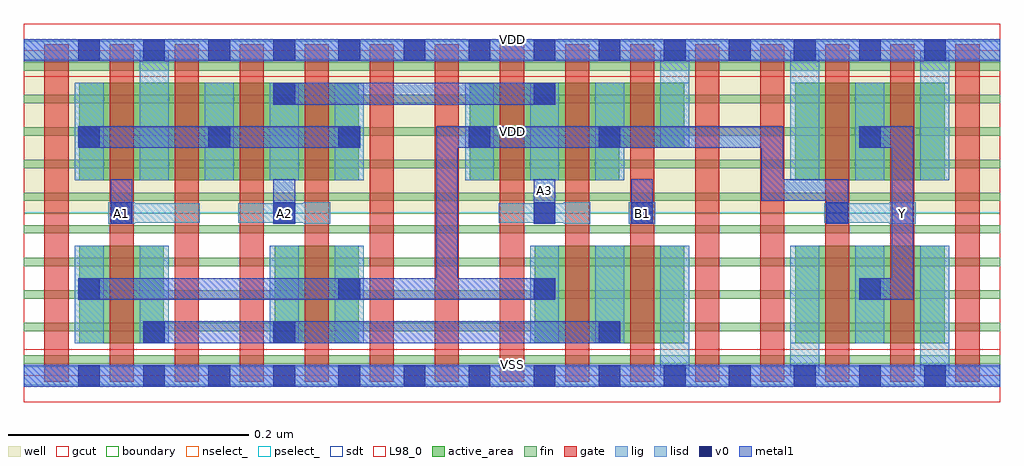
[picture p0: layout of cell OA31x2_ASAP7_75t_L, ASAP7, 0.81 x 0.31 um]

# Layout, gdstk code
import gdstk
lib = gdstk.Library(unit=1e-6, precision=2.5e-10)
def R(c, l, rs):  # rectangles x0, y0, x1, y1
    for r in rs: c.add(gdstk.rectangle(r[:2], r[2:], *l))
def A(c, l, x, y, w, h, nx, ny, dx, dy):  # array of equal rectangles
    R(c, l, [(x+i*dx, y+j*dy, x+i*dx+w, y+j*dy+h) for i in range(nx) for j in range(ny)])
def P(c, l, *ps):  # polygons
    for p in ps: c.add(gdstk.Polygon(p, *l))
well = (1, 0)
fin = (2, 0)
gate = (7, 0)
gcut = (10, 0)
active_area = (11, 0)
nselect_ = (12, 0)
pselect_ = (13, 0)
lig = (16, 0)
lisd = (17, 0)
v0 = (18, 0)
metal1 = (19, 0)
sdt = (88, 0)
L98_0 = (98, 0)
boundary = (100, 0)

oa31x2_asap7_75t_l = lib.new_cell('OA31x2_ASAP7_75t_L')
R(oa31x2_asap7_75t_l, well, [(0,0.135,0.81,0.27)])
A(oa31x2_asap7_75t_l, fin, 0, 0.01, 0.81, 0.007, 1, 10, 0, 0.027)
A(oa31x2_asap7_75t_l, gate, 0.017, -0.005, 0.02, 0.28, 15, 1, 0.054, 0)
R(oa31x2_asap7_75t_l, gcut, [(0,-0.022,0.81,0.022), (0,0.248,0.81,0.292)])
R(oa31x2_asap7_75t_l, active_area, [(0.046,0.027,0.116,0.108), (0.208,0.027,0.278,0.108), (0.424,0.027,0.548,0.108), (0.64,0.027,0.764,0.108), (0.046,0.162,0.278,0.243), (0.64,0.162,0.764,0.243)])
P(oa31x2_asap7_75t_l, active_area, [(0.37,0.162),(0.494,0.162),(0.494,0.189),(0.548,0.189),(0.548,0.243),(0.37,0.243)])
R(oa31x2_asap7_75t_l, nselect_, [(0,0,0.81,0.135)])
R(oa31x2_asap7_75t_l, pselect_, [(0,0.135,0.81,0.27)])
R(oa31x2_asap7_75t_l, lig, [(0,-0.008,0.81,0.008), (0.07,0.126,0.092,0.144), (0.232,0.126,0.254,0.144), (0.448,0.126,0.47,0.144), (0.502,0.126,0.524,0.144), (0.718,0.126,0.74,0.144), (0.07,0.127,0.146,0.143), (0.178,0.127,0.254,0.143), (0.394,0.127,0.47,0.143), (0.664,0.127,0.74,0.143), (0,0.262,0.81,0.278)])
A(oa31x2_asap7_75t_l, lisd, 0.15, 0.162, 0.024, 0.081, 3, 1, 0.054, 0)
A(oa31x2_asap7_75t_l, lisd, 0.366, 0.162, 0.024, 0.081, 3, 1, 0.054, 0)
R(oa31x2_asap7_75t_l, lisd, [(0.528,0,0.552,0.108), (0.528,0,0.552,0.108), (0.636,0,0.66,0.108), (0.636,0,0.66,0.108), (0.744,0,0.768,0.108), (0.744,0,0.768,0.108), (0.042,0.027,0.066,0.108), (0.096,0.027,0.12,0.108), (0.204,0.027,0.228,0.108), (0.258,0.027,0.282,0.108), (0.42,0.027,0.444,0.108), (0.474,0.027,0.498,0.108), (0.69,0.027,0.714,0.108), (0.042,0.162,0.066,0.243), (0.096,0.162,0.12,0.27), (0.096,0.162,0.12,0.27), (0.636,0.162,0.66,0.27), (0.636,0.162,0.66,0.27), (0.69,0.162,0.714,0.243), (0.744,0.162,0.768,0.27), (0.744,0.162,0.768,0.27), (0.528,0.189,0.552,0.27), (0.528,0.189,0.552,0.27)])
A(oa31x2_asap7_75t_l, v0, 0.045, -0.009, 0.018, 0.018, 14, 2, 0.054, 0.27)
A(oa31x2_asap7_75t_l, v0, 0.207, 0.027, 0.018, 0.018, 1, 3, 0, 0.099)
A(oa31x2_asap7_75t_l, v0, 0.045, 0.189, 0.018, 0.018, 5, 1, 0.108, 0)
R(oa31x2_asap7_75t_l, v0, [(0.099,0.027,0.117,0.045), (0.477,0.027,0.495,0.045), (0.045,0.063,0.063,0.081), (0.261,0.063,0.279,0.081), (0.423,0.063,0.441,0.081), (0.693,0.063,0.711,0.081), (0.072,0.126,0.09,0.144), (0.423,0.126,0.441,0.144), (0.504,0.126,0.522,0.144), (0.666,0.126,0.684,0.144), (0.693,0.189,0.711,0.207), (0.423,0.225,0.441,0.243)])
A(oa31x2_asap7_75t_l, metal1, 0.207, 0.027, 0.018, 0.018, 1, 3, 0, 0.099)
A(oa31x2_asap7_75t_l, metal1, 0.045, 0.189, 0.018, 0.018, 5, 1, 0.108, 0)
R(oa31x2_asap7_75t_l, metal1, [(0,-0.009,0.81,0.009), (0.099,0.027,0.117,0.045), (0.099,0.027,0.495,0.045), (0.477,0.027,0.495,0.045), (0.045,0.063,0.063,0.081), (0.261,0.063,0.279,0.081), (0.423,0.063,0.441,0.081), (0.693,0.063,0.711,0.081), (0.072,0.126,0.09,0.144), (0.072,0.126,0.09,0.163), (0.207,0.126,0.225,0.163), (0.423,0.126,0.441,0.144), (0.423,0.126,0.441,0.163), (0.504,0.126,0.522,0.144), (0.504,0.126,0.522,0.163), (0.666,0.126,0.684,0.144), (0.045,0.189,0.279,0.207), (0.693,0.189,0.711,0.207), (0.207,0.225,0.441,0.243), (0.423,0.225,0.441,0.243), (0,0.261,0.81,0.279)])
P(oa31x2_asap7_75t_l, metal1, [(0.666,0.126),(0.684,0.126),(0.684,0.163),(0.63,0.163),(0.63,0.207),(0.342,0.207),(0.342,0.081),(0.045,0.081),(0.045,0.063),(0.441,0.063),(0.441,0.081),(0.36,0.081),(0.36,0.189),(0.612,0.189),(0.612,0.145),(0.666,0.145)],
  [(0.693,0.207),(0.693,0.189),(0.72,0.189),(0.72,0.081),(0.693,0.081),(0.693,0.063),(0.738,0.063),(0.738,0.207)])
A(oa31x2_asap7_75t_l, sdt, 0.42, 0.027, 0.024, 0.081, 3, 1, 0.054, 0)
A(oa31x2_asap7_75t_l, sdt, 0.636, 0.027, 0.024, 0.081, 3, 2, 0.054, 0.135)
A(oa31x2_asap7_75t_l, sdt, 0.096, 0.162, 0.024, 0.081, 4, 1, 0.054, 0)
A(oa31x2_asap7_75t_l, sdt, 0.366, 0.162, 0.024, 0.081, 3, 1, 0.054, 0)
R(oa31x2_asap7_75t_l, sdt, [(0.042,0.027,0.066,0.108), (0.096,0.027,0.12,0.108), (0.204,0.027,0.228,0.108), (0.258,0.027,0.282,0.108), (0.528,0.027,0.552,0.108), (0.636,0.027,0.66,0.108), (0.744,0.027,0.768,0.108), (0.042,0.162,0.066,0.243), (0.096,0.162,0.12,0.243), (0.636,0.162,0.66,0.243), (0.744,0.162,0.768,0.243), (0.528,0.189,0.552,0.243), (0.528,0.189,0.552,0.243)])
R(oa31x2_asap7_75t_l, L98_0, [(0,0,0.81,0.27)])
R(oa31x2_asap7_75t_l, boundary, [(0,0,0.81,0.27)])
oa31x2_asap7_75t_l.add(gdstk.Label('VDD', (0.405,0.2025), layer=1, texttype=251))
oa31x2_asap7_75t_l.add(gdstk.Label('VSS', (0.405,-0.0675), layer=3, texttype=251))
oa31x2_asap7_75t_l.add(gdstk.Label('VSS', (0.405,0.009), layer=19, texttype=251))
oa31x2_asap7_75t_l.add(gdstk.Label('VDD', (0.405,0.279), layer=19, texttype=251))
oa31x2_asap7_75t_l.add(gdstk.Label('A1', (0.081,0.135), layer=19, texttype=251))
oa31x2_asap7_75t_l.add(gdstk.Label('A2', (0.216,0.135), layer=19, texttype=251))
oa31x2_asap7_75t_l.add(gdstk.Label('A3', (0.432,0.154), layer=19, texttype=251))
oa31x2_asap7_75t_l.add(gdstk.Label('B1', (0.513,0.135), layer=19, texttype=251))
oa31x2_asap7_75t_l.add(gdstk.Label('Y', (0.729,0.135), layer=19, texttype=251))

lib.write_gds('OA31x2_ASAP7_75t_L.gds')
